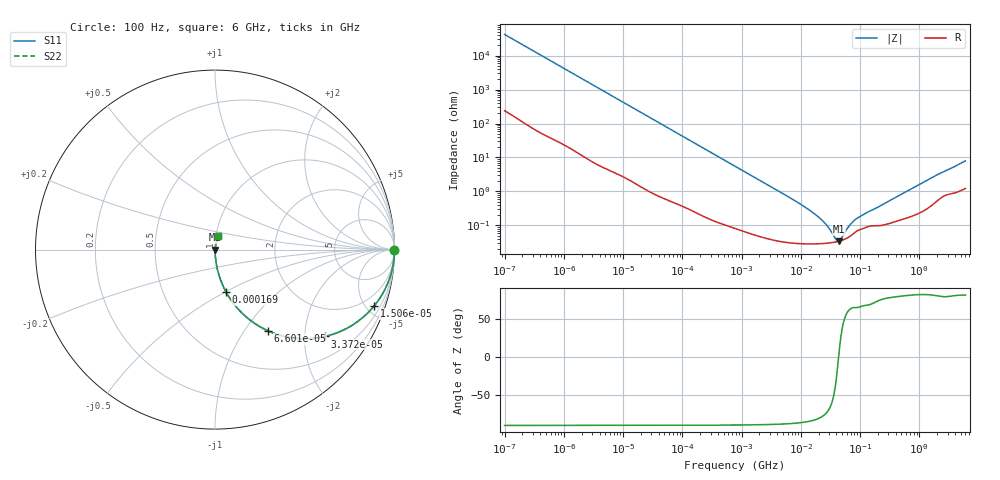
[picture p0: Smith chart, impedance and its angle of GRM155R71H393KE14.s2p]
!Murata Part Number: GRM155R71H393KE14
!These Parameters are Measured in Series Mode Connection
!Data Generated on Mar 30, 2021
!  o--ll--o
!Port1  Port2
!  o------o
!Operation Temp=25[degC], DC Bias Voltage=0[V]
!Freq. Start=100[Hz] Stop=6[GHz] 401[Steps]
# Hz S RI R 50
!Freq.(Hz) S11(Real) S11(Imag) S21(Real) S21(Imag) S12(Real) S12(Imag) S22(Real) S22(Imag)
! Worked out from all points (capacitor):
!   401 points, 100 Hz to 6 GHz, reference 50 ohm
!   read as one part in series: C = 38.1 nF near 109 Hz
!   lowest |Z| = 34.3 mohm at 43.57 MHz (marker M1)
!   series resonance near 43.47 MHz, so ESL is about 350 pH
!   S11 on the Smith chart (normalised r, x): 100 Hz: open; 15.06 kHz: 1.04, -5.63; 33.72 kHz: 1.02, -2.52; 66 kHz: 1.01, -1.29; 169 kHz: 1.00, -0.51; 6 GHz: 1.02, +0.16
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100  1 -0.0024  1.94e-05 0.0024  1.94e-05 0.0024  1 -0.0024
2008  0.9975 -0.0475  0.00253 0.0475  0.00253 0.0475  0.9975 -0.0475
5882  0.9802 -0.1363  0.0198 0.1363  0.0198 0.1363  0.9802 -0.1363
15062  0.8865 -0.3139  0.1135 0.3139  0.1135 0.3139  0.8865 -0.3139
33721  0.6136 -0.4836  0.3864 0.4836  0.3864 0.4836  0.6136 -0.4836
40335  0.527 -0.4959  0.473 0.4959  0.473 0.4959  0.527 -0.4959
66005  0.2962 -0.4527  0.7038 0.4527  0.7038 0.4527  0.2962 -0.4527
103284  0.1485 -0.3513  0.8515 0.3513  0.8515 0.3513  0.1485 -0.3513
169018  0.0625 -0.2374  0.9375 0.2374  0.9375 0.2374  0.0625 -0.2374
774597  0.00391 -0.0556  0.9961 0.0556  0.9961 0.0556  0.00391 -0.0556
6353432  0.000354 -0.00675  0.9996 0.00675  0.9996 0.00675  0.000354 -0.00675
1.555665e7  0.000292 -0.00246  0.9997 0.00246  0.9997 0.00246  0.000292 -0.00246
2.434276e7  0.000296 -0.00124  0.9997 0.00124  0.9997 0.00124  0.000296 -0.00124
3.045065e7  0.000306 -0.000735  0.9997 0.000735  0.9997 0.000735  0.000306 -0.000735
3.80911e7  0.000325 -0.000268  0.9997 0.000268  0.9997 0.000268  0.000325 -0.000268
4.35672e7  0.000342 4.8e-06  0.9997 -4.8e-06  0.9997 -4.8e-06  0.000342 4.8e-06
4.764863e7  0.000358 0.000187  0.9996 -0.000187  0.9996 -0.000187  0.000358 0.000187
6.817316e7  0.000482 0.000938  0.9995 -0.000938  0.9995 -0.000938  0.000482 0.000938
8.527865e7  0.000658 0.00139  0.9993 -0.00139  0.9993 -0.00139  0.000658 0.00139
3.124326e8  0.00117 0.00521  0.9988 -0.00521  0.9988 -0.00521  0.00117 0.00521
1.873145e9  0.00556 0.0284  0.9944 -0.0284  0.9944 -0.0284  0.00556 0.0284
6e9  0.018 0.0763  0.982 -0.0763  0.982 -0.0763  0.018 0.0763
